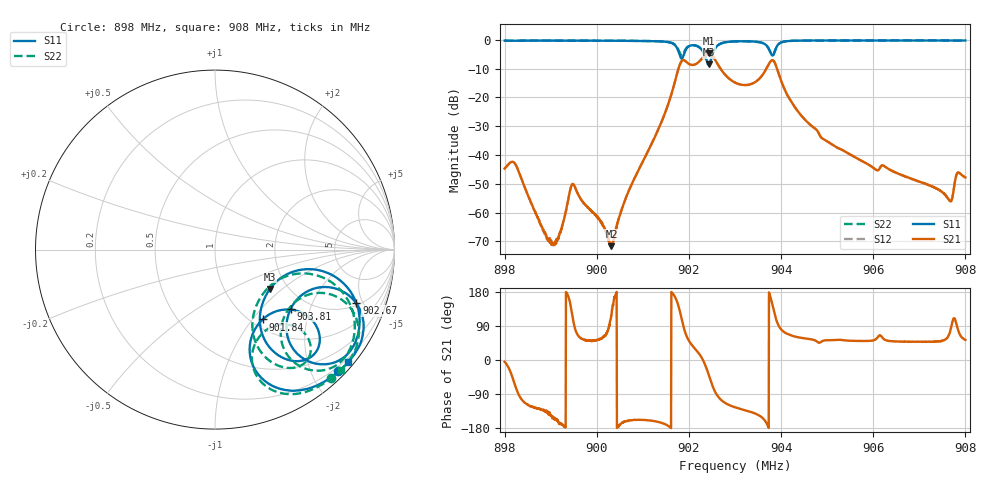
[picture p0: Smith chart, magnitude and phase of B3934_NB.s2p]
! Matrix data file written by TouchstoneData, EPCOS AG
! FILENAME: "LY32A_24_NB.s2p"
! COMMENT: "(/home/netware/tmp/Aleks/LY32A/unmatched/LY3"
! INFO: nport=2, nfreq=1601
! DATE: "Tue Apr 20 09:12:50 2010"
! USER: "Aleksander Breg"
! port | pin | signal
!  1  |  2  |  input
!  2  |  4  |  output
# MHZ S MA R 50
! freq  magS11 angS11  magS21 angS21  magS12 angS12  magS22 angS22
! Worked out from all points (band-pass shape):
!   1601 points, 898 MHz to 908 MHz, reference 50 ohm
!   highest |S21| = -4.63 dB at 902.44 MHz (marker M1); lowest = -71.7 dB at 900.32 MHz (marker M2)
!   |S21| within 3 dB of the highest: 901.8321 MHz to 901.9389 MHz (106.7 kHz wide, 0.0118 % of centre); 902.2193 MHz to 902.5928 MHz (373.5 kHz wide, 0.0414 % of centre) (the widest 2 of 3)
!   lowest |S11| = -8.5 dB at 902.43 MHz (marker M3), VSWR 2.21, Z = 80.8 - j41.5 ohm
!   |S11| at or under -10 dB: nowhere
!   |S22| runs from -8.8 to -0.3 dB; largest |S21 - S12| = 0.00075
!   S11 on the Smith chart (normalised r, x): 898 MHz: 0.13, -2.43; 901.84 MHz: 1.13, -1.13; 902.67 MHz: 2.18, -4.45; 903.81 MHz: 1.62, -1.49; 908 MHz: 0.13, -2.72
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898  0.9638 -44.6  0.005794 -4.8  0.005804 -4.6  0.9636 -47.7
898.2375  0.9616 -44.4  0.006824 -70.7  0.006826 -70.6  0.9613 -47.5
899.0375  0.9664 -45.3  0.0002822 -154.1  0.0003147 -148.5  0.9658 -48.5
899.4625  0.9628 -45.8  0.003075 123.3  0.003091 122.8  0.9614 -49.0
899.6688  0.9645 -46.1  0.001644 57.0  0.001626 56.4  0.9639 -49.2
900.3188  0.962 -47.6  0.0002608 116.8  0.0002641 120.3  0.9614 -50.6
901.3375  0.9407 -54.4  0.02796 -163.5  0.02802 -163.4  0.9421 -57.0
901.8375  0.4709 -55.7  0.4219 111.5  0.422 111.6  0.5337 -59.3
901.9813  0.7529 -39.3  0.3891 54.8  0.3893 54.9  0.7635 -45.7
902.2188  0.7468 -55.8  0.4148 16.9  0.415 17.0  0.7451 -60.8
902.4312  0.3765 -35.8  0.5863 -39.1  0.5864 -39.1  0.3625 -39.9
902.4375  0.3778 -32.6  0.5865 -41.4  0.5867 -41.4  0.3637 -36.5
902.6688  0.842 -20.7  0.3291 -101.7  0.3291 -101.6  0.8395 -24.1
903  0.9367 -33.3  0.1806 -124.8  0.1806 -124.7  0.9352 -36.9
903.625  0.8609 -47.8  0.2642 -156.4  0.2646 -156.3  0.8592 -51.4
903.8062  0.5351 -37.9  0.4401 148.9  0.4403 149.0  0.5302 -41.4
904  0.8973 -24.0  0.1948 81.0  0.1948 81.1  0.8956 -27.3
904.6688  0.9695 -35.5  0.03158 54.3  0.03159 54.3  0.9685 -38.9
906.3375  0.9713 -39.2  0.005669 50.4  0.005658 50.3  0.9701 -42.6
907.6625  0.9703 -40.3  0.001592 72.0  0.001605 73.4  0.9692 -43.7
907.8312  0.9677 -40.2  0.004908 83.7  0.004915 83.8  0.9672 -43.6
908  0.9705 -40.3  0.004065 53.0  0.004075 53.1  0.9696 -43.7
